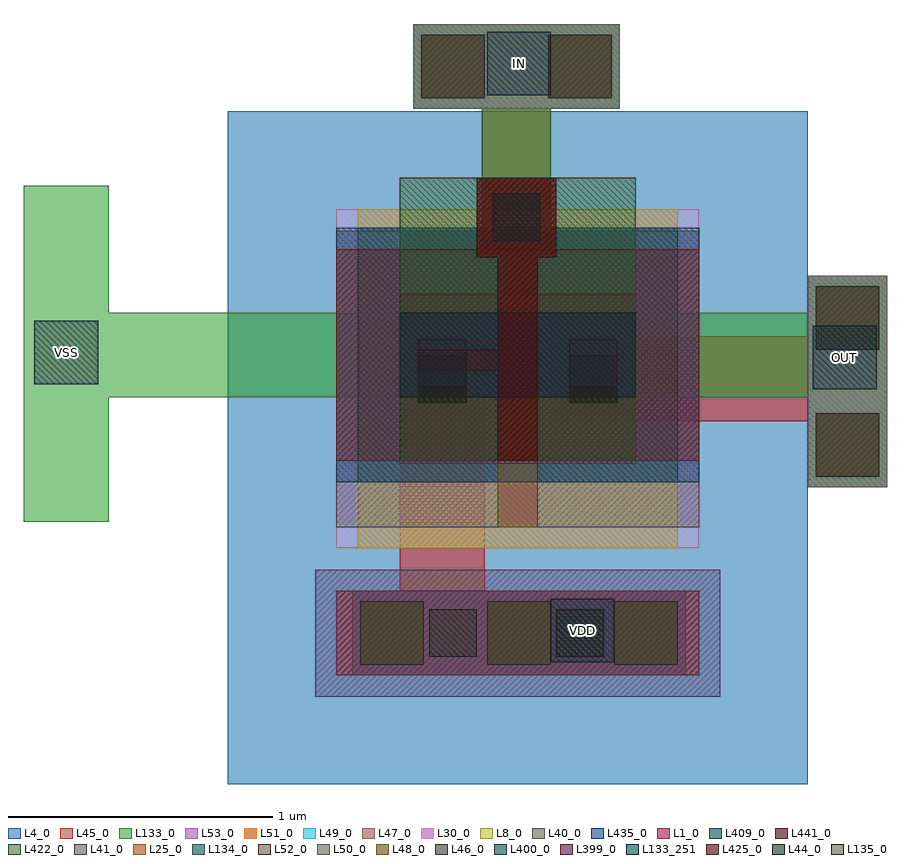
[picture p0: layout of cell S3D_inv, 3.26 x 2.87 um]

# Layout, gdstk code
import gdstk
lib = gdstk.Library(unit=1e-6, precision=1e-09)
def R(c, l, rs):  # rectangles x0, y0, x1, y1
    for r in rs: c.add(gdstk.rectangle(r[:2], r[2:], *l))
def A(c, l, x, y, w, h, nx, ny, dx, dy):  # array of equal rectangles
    R(c, l, [(x+i*dx, y+j*dy, x+i*dx+w, y+j*dy+h) for i in range(nx) for j in range(ny)])
L1_0 = (1, 0)
L4_0 = (4, 0)
L8_0 = (8, 0)
L25_0 = (25, 0)
L30_0 = (30, 0)
L40_0 = (40, 0)
L41_0 = (41, 0)
L44_0 = (44, 0)
L45_0 = (45, 0)
L46_0 = (46, 0)
L47_0 = (47, 0)
L48_0 = (48, 0)
L49_0 = (49, 0)
L50_0 = (50, 0)
L51_0 = (51, 0)
L52_0 = (52, 0)
L53_0 = (53, 0)
L133_0 = (133, 0)
L133_251 = (133, 251)
L134_0 = (134, 0)
L135_0 = (135, 0)
L399_0 = (399, 0)
L400_0 = (400, 0)
L409_0 = (409, 0)
L422_0 = (422, 0)
L425_0 = (425, 0)
L435_0 = (435, 0)
L441_0 = (441, 0)

abutcontact__18 = lib.new_cell('AbutContact$$18')
R(abutcontact__18, L1_0, [(-0.05,-0.03,1.32,0.29)])
R(abutcontact__18, L44_0, [(0.3,0.04,0.48,0.22), (0.78,0.04,0.96,0.22)])
R(abutcontact__18, L45_0, [(-0.05,-0.03,1.32,0.29)])

pmos_hs_4__16 = lib.new_cell('pmos_hs_4$$16')
R(pmos_hs_4__16, L1_0, [(-0.37,0,0,0.64), (0,0,0.15,0.64), (0.15,0,0.52,0.64), (-0.37,0.16,-0.05,0.48), (0.2,0.16,0.52,0.48)])
R(pmos_hs_4__16, L4_0, [(-1.02,-1.21,1.17,1.33), (-1.02,-1.21,1.17,1.33), (-0.77,-0.96,0.92,0.96)])
R(pmos_hs_4__16, L8_0, [(-0.53,-0.32,0.68,0.96)])
R(pmos_hs_4__16, L25_0, [(0,-0.24,0.15,0), (0,-0.24,0.15,0.88), (0,0.64,0.15,0.88), (-0.08,0.78,0.22,1.08), (-0.08,0.78,0.22,1.08)])
R(pmos_hs_4__16, L30_0, [(-0.61,-0.32,0.76,0.96)])
R(pmos_hs_4__16, L40_0, [(-0.61,-0.24,0.76,0.88)])
R(pmos_hs_4__16, L41_0, [(-0.69,-0.88,0.84,-0.4)])
R(pmos_hs_4__16, L44_0, [(-0.3,0.23,-0.12,0.41), (0.27,0.23,0.45,0.41), (-0.02,0.84,0.16,1.02)])
R(pmos_hs_4__16, L45_0, [(-0.61,-0.8,0.76,-0.48), (-0.37,0.16,-0.05,0.48), (0.2,0.16,0.52,0.48), (-0.06,0.81,0.2,1.05)])
pmos_hs_4__16.add(gdstk.Reference(abutcontact__18, (-0.56,-0.77)))

nmos_hs_4_top__17 = lib.new_cell('nmos_hs_4_top$$17')
R(nmos_hs_4_top__17, L133_0, [(-0.37,0,-0.05,0.32), (0.2,0,0.52,0.32), (-0.28,0.06,-0.14,0.2), (0.29,0.06,0.43,0.2), (-0.06,0.56,0.2,0.8), (0,0.61,0.14,0.75)])
R(nmos_hs_4_top__17, L135_0, [(-0.3,0.04,-0.12,0.22), (0.27,0.04,0.45,0.22), (-0.02,0.59,0.16,0.77)])
R(nmos_hs_4_top__17, L399_0, [(0,-0.24,0.15,0.53), (0.04,0.1,0.1,0.18), (-0.08,0.53,0.22,0.83)])
R(nmos_hs_4_top__17, L400_0, [(-0.37,0,-0.05,0.32), (-0.05,0,0,0.32), (0,0,0.15,0.32), (0.15,0,0.2,0.32), (0.2,0,0.52,0.32)])
R(nmos_hs_4_top__17, L409_0, [(-0.53,-0.32,0.68,0.64)])
R(nmos_hs_4_top__17, L422_0, [(-0.37,-0.24,0.52,0.83)])
R(nmos_hs_4_top__17, L425_0, [(0,-0.24,0.15,0.53), (-0.08,0.53,0.22,0.83)])
R(nmos_hs_4_top__17, L435_0, [(-0.61,-0.32,0.76,0.64)])
R(nmos_hs_4_top__17, L441_0, [(-0.61,-0.24,0.76,0.56)])

m5_m1_top__1 = lib.new_cell('M5_M1_top$$1')
R(m5_m1_top__1, L53_0, [(-0.39,-0.16,0.39,0.16)])
R(m5_m1_top__1, L133_0, [(-0.39,-0.16,0.39,0.16)])
R(m5_m1_top__1, L134_0, [(-0.36,-0.12,-0.12,0.12), (0.12,-0.12,0.36,0.12)])

m4_m5__2 = lib.new_cell('M4_M5$$2')
R(m4_m5__2, L51_0, [(-0.39,-0.16,0.39,0.16)])
R(m4_m5__2, L52_0, [(-0.36,-0.12,-0.12,0.12), (0.12,-0.12,0.36,0.12)])
R(m4_m5__2, L53_0, [(-0.39,-0.16,0.39,0.16)])

m3_m4__3 = lib.new_cell('M3_M4$$3')
R(m3_m4__3, L49_0, [(-0.39,-0.16,0.39,0.16)])
R(m3_m4__3, L50_0, [(-0.36,-0.12,-0.12,0.12), (0.12,-0.12,0.36,0.12)])
R(m3_m4__3, L51_0, [(-0.39,-0.16,0.39,0.16)])

m2_m3__4 = lib.new_cell('M2_M3$$4')
R(m2_m3__4, L47_0, [(-0.39,-0.16,0.39,0.16)])
R(m2_m3__4, L48_0, [(-0.36,-0.12,-0.12,0.12), (0.12,-0.12,0.36,0.12)])
R(m2_m3__4, L49_0, [(-0.39,-0.16,0.39,0.16)])

m1_m2__5 = lib.new_cell('M1_M2$$5')
R(m1_m2__5, L45_0, [(-0.39,-0.16,0.39,0.16)])
R(m1_m2__5, L46_0, [(-0.36,-0.12,-0.12,0.12), (0.12,-0.12,0.36,0.12)])
R(m1_m2__5, L47_0, [(-0.39,-0.16,0.39,0.16)])

m5_m1_top__6 = lib.new_cell('M5_M1_top$$6')
R(m5_m1_top__6, L53_0, [(-0.15,-0.4,0.15,0.4)])
R(m5_m1_top__6, L133_0, [(-0.15,-0.4,0.15,0.4)])
R(m5_m1_top__6, L134_0, [(-0.12,-0.36,0.12,-0.12), (-0.12,0.12,0.12,0.36)])

m4_m5__7 = lib.new_cell('M4_M5$$7')
R(m4_m5__7, L51_0, [(-0.15,-0.4,0.15,0.4)])
R(m4_m5__7, L52_0, [(-0.12,-0.36,0.12,-0.12), (-0.12,0.12,0.12,0.36)])
R(m4_m5__7, L53_0, [(-0.15,-0.4,0.15,0.4)])

m3_m4__8 = lib.new_cell('M3_M4$$8')
R(m3_m4__8, L49_0, [(-0.15,-0.4,0.15,0.4)])
R(m3_m4__8, L50_0, [(-0.12,-0.36,0.12,-0.12), (-0.12,0.12,0.12,0.36)])
R(m3_m4__8, L51_0, [(-0.15,-0.4,0.15,0.4)])

m2_m3__9 = lib.new_cell('M2_M3$$9')
R(m2_m3__9, L47_0, [(-0.15,-0.4,0.15,0.4)])
R(m2_m3__9, L48_0, [(-0.12,-0.36,0.12,-0.12), (-0.12,0.12,0.12,0.36)])
R(m2_m3__9, L49_0, [(-0.15,-0.4,0.15,0.4)])

m1_m2__10 = lib.new_cell('M1_M2$$10')
R(m1_m2__10, L45_0, [(-0.15,-0.4,0.15,0.4)])
R(m1_m2__10, L46_0, [(-0.12,-0.36,0.12,-0.12), (-0.12,0.12,0.12,0.36)])
R(m1_m2__10, L47_0, [(-0.15,-0.4,0.15,0.4)])

m5_m1_top__11 = lib.new_cell('M5_M1_top$$11')
R(m5_m1_top__11, L53_0, [(-0.63,-0.16,0.63,0.16)])
R(m5_m1_top__11, L133_0, [(-0.63,-0.16,0.63,0.16)])
A(m5_m1_top__11, L134_0, -0.6, -0.12, 0.24, 0.24, 3, 1, 0.48, 0)

m4_m5__12 = lib.new_cell('M4_M5$$12')
R(m4_m5__12, L51_0, [(-0.63,-0.16,0.63,0.16)])
A(m4_m5__12, L52_0, -0.6, -0.12, 0.24, 0.24, 3, 1, 0.48, 0)
R(m4_m5__12, L53_0, [(-0.63,-0.16,0.63,0.16)])

m3_m4__13 = lib.new_cell('M3_M4$$13')
R(m3_m4__13, L49_0, [(-0.63,-0.16,0.63,0.16)])
A(m3_m4__13, L50_0, -0.6, -0.12, 0.24, 0.24, 3, 1, 0.48, 0)
R(m3_m4__13, L51_0, [(-0.63,-0.16,0.63,0.16)])

m2_m3__14 = lib.new_cell('M2_M3$$14')
R(m2_m3__14, L47_0, [(-0.63,-0.16,0.63,0.16)])
A(m2_m3__14, L48_0, -0.6, -0.12, 0.24, 0.24, 3, 1, 0.48, 0)
R(m2_m3__14, L49_0, [(-0.63,-0.16,0.63,0.16)])

m1_m2__15 = lib.new_cell('M1_M2$$15')
R(m1_m2__15, L45_0, [(-0.63,-0.16,0.63,0.16)])
A(m1_m2__15, L46_0, -0.6, -0.12, 0.24, 0.24, 3, 1, 0.48, 0)
R(m1_m2__15, L47_0, [(-0.63,-0.16,0.63,0.16)])

s3d_inv = lib.new_cell('S3D_inv')
R(s3d_inv, L45_0, [(1.84,1.27,2.16,2.52), (2.41,2.2,3.38,2.52), (2.15,2.85,2.41,3.69)])
R(s3d_inv, L133_0, [(0.42,1.82,0.74,3.09), (0.42,2.29,2.16,2.61), (2.41,2.29,3.61,2.61), (2.15,2.85,2.41,3.7)])
R(s3d_inv, L133_251, [(2.41,1.29,2.65,1.53), (3.4,2.32,3.64,2.56), (0.46,2.34,0.7,2.58), (2.17,3.43,2.41,3.67)])
R(s3d_inv, L399_0, [(1.91,2.39,2.31,2.47)])
s3d_inv.add(gdstk.Reference(pmos_hs_4__16, (2.21,2.04)))
s3d_inv.add(gdstk.Reference(nmos_hs_4_top__17, (2.21,2.29)))
s3d_inv.add(gdstk.Reference(m5_m1_top__1, (2.28,3.54)))
s3d_inv.add(gdstk.Reference(m4_m5__2, (2.28,3.54)))
s3d_inv.add(gdstk.Reference(m3_m4__3, (2.28,3.54)))
s3d_inv.add(gdstk.Reference(m2_m3__4, (2.28,3.54)))
s3d_inv.add(gdstk.Reference(m1_m2__5, (2.28,3.54)))
s3d_inv.add(gdstk.Reference(m5_m1_top__6, (3.53,2.35)))
s3d_inv.add(gdstk.Reference(m4_m5__7, (3.53,2.35)))
s3d_inv.add(gdstk.Reference(m3_m4__8, (3.53,2.35)))
s3d_inv.add(gdstk.Reference(m2_m3__9, (3.53,2.35)))
s3d_inv.add(gdstk.Reference(m1_m2__10, (3.53,2.35)))
s3d_inv.add(gdstk.Reference(m5_m1_top__11, (2.29,1.4)))
s3d_inv.add(gdstk.Reference(m4_m5__12, (2.29,1.4)))
s3d_inv.add(gdstk.Reference(m3_m4__13, (2.29,1.4)))
s3d_inv.add(gdstk.Reference(m2_m3__14, (2.29,1.4)))
s3d_inv.add(gdstk.Reference(m1_m2__15, (2.29,1.4)))
s3d_inv.add(gdstk.Label('OUT', (3.52,2.44), layer=133, texttype=251))
s3d_inv.add(gdstk.Label('IN', (2.29,3.55), layer=133, texttype=251))
s3d_inv.add(gdstk.Label('VSS', (0.58,2.46), layer=133, texttype=251))
s3d_inv.add(gdstk.Label('VDD', (2.53,1.41), layer=133, texttype=251))

lib.write_gds('S3D_inv.gds')
